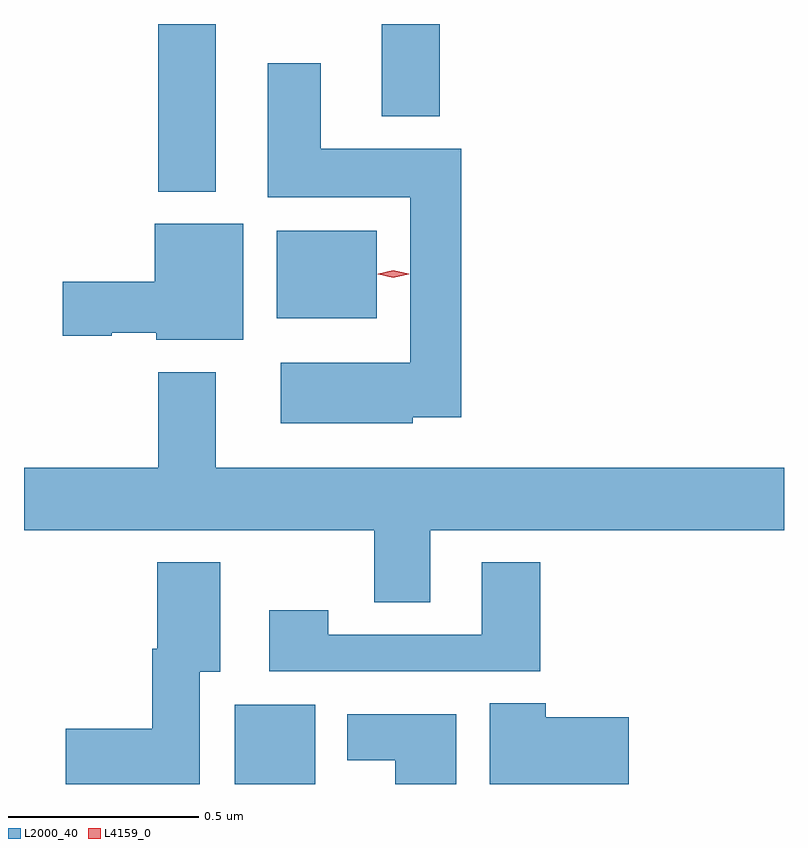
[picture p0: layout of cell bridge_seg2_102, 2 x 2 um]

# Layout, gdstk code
import gdstk
lib = gdstk.Library(unit=1e-6, precision=1e-09)
def R(c, l, rs):  # rectangles x0, y0, x1, y1
    for r in rs: c.add(gdstk.rectangle(r[:2], r[2:], *l))
def P(c, l, *ps):  # polygons
    for p in ps: c.add(gdstk.Polygon(p, *l))
L2000_40 = (2000, 40)
L4159_0 = (4159, 0)

bridge_seg2_102 = lib.new_cell('bridge_seg2_102')
R(bridge_seg2_102, L2000_40, [(618.668,664.284,618.88,664.492), (618.779,665.51,619.042,665.74), (618.467,665.843,618.619,666.284), (619.055,666.041,619.208,666.284)])
P(bridge_seg2_102, L2000_40, [(619.137,665.249),(619.265,665.249),(619.265,665.956),(618.895,665.956),(618.895,666.181),(618.755,666.181),(618.755,665.828),(619.13,665.828),(619.13,665.392),(618.789,665.392),(618.789,665.234),(619.137,665.234)],
  [(618.691,665.758),(618.458,665.758),(618.458,665.606),(618.216,665.606),(618.216,665.464),(618.345,665.464),(618.345,665.471),(618.462,665.471),(618.462,665.453),(618.691,665.453)],
  [(619.183,664.952),(620.114,664.952),(620.114,665.116),(618.619,665.116),(618.619,665.368),(618.467,665.368),(618.467,665.116),(618.114,665.116),(618.114,664.952),(619.036,664.952),(619.036,664.762),(619.183,664.762)],
  [(619.472,664.867),(619.319,664.867),(619.319,664.677),(618.915,664.677),(618.915,664.741),(618.759,664.741),(618.759,664.581),(619.472,664.581)],
  [(618.577,664.58),(618.631,664.58),(618.631,664.867),(618.464,664.867),(618.464,664.64),(618.452,664.64),(618.452,664.429),(618.224,664.429),(618.224,664.284),(618.577,664.284)],
  [(619.705,664.46),(619.487,664.46),(619.487,664.496),(619.34,664.496),(619.34,664.284),(619.705,664.284)],
  [(619.252,664.468),(618.965,664.468),(618.965,664.346),(619.091,664.346),(619.091,664.284),(619.252,664.284)])
P(bridge_seg2_102, L4159_0, [(619.086,665.616),(619.046,665.626),(619.045,665.626),(619.046,665.627),(619.086,665.636),(619.127,665.627),(619.127,665.626),(619.127,665.626)])

lib.write_gds('bridge_seg2_102.gds')
